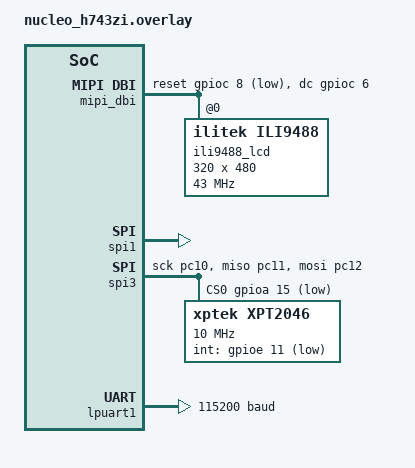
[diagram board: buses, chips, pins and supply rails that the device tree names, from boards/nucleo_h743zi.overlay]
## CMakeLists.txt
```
cmake_minimum_required(VERSION 3.20.0)

# Point the build at the HMI module (this sample lives inside it).
set(ZEPHYR_EXTRA_MODULES ${CMAKE_CURRENT_SOURCE_DIR}/../..)

find_package(Zephyr REQUIRED HINTS $ENV{ZEPHYR_BASE})
project(svpwm_comm LANGUAGES C)

# Sources are role-gated: the host (G474) runs SVPWM + the comm host peer
# and no LVGL; the device (H743) runs the comm device handlers and the
# full display stack. main.c dispatches on the same symbols.
target_sources(app PRIVATE src/main.c)
target_sources_ifdef(CONFIG_SVPWM_COMM_ROLE_HOST app PRIVATE
	src/control.c src/spi_cmd.c src/uart_comm.c)
target_sources_ifdef(CONFIG_SVPWM_COMM_ROLE_DEVICE app PRIVATE
	src/comm_device.c)

target_include_directories(app PRIVATE include)
```

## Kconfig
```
mainmenu "svpwm_comm"

source "Kconfig.zephyr"

choice SVPWM_COMM_ROLE
	prompt "SVPWM comm role"
	default SVPWM_COMM_ROLE_HOST
	help
	  One board runs each side of the comm link:

	    host   (NUCLEO-G474RE): SVPWM 3-phase inverter on TIM1, SPI
	           command link from the H7S78-DK slave, and the comm host
	           peer (drives the gauge with SET_GAUGE, probes with
	           PING/GET_INFO, watches the telemetry stream). No LVGL.
	    device (NUCLEO-H743ZI): comm device handlers (PING/GET_INFO/
	           SET_GAUGE) and the 500 ms telemetry stream, on top of
	           the full ILI9488/LVGL display stack so the needle sweep
	           is visible.

	  Both sides connect on their Arduino D0/D1 header serial
	  (G474 usart1 PC4/PC5 <-> H743 lpuart1 PB6/PB7) @115200.

config SVPWM_COMM_ROLE_HOST
	bool "host role (G474: SVPWM + comm host peer)"

config SVPWM_COMM_ROLE_DEVICE
	bool "device role (H743: comm device + display)"

endchoice
```

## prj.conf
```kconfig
# svpwm_comm -- settings shared by both roles.
# The host (G474) and device (H743) builds each merge their role + board
# specific settings from boards/<board>.conf on top of this file.

CONFIG_MAIN_STACK_SIZE=8192

CONFIG_GPIO=y
CONFIG_SPI=y

CONFIG_LOG=y
CONFIG_LOG_DEFAULT_LEVEL=3
CONFIG_LOG_MODE_DEFERRED=y

# spi_cmd.c/control.c log %f (freq/mag) on the host; cbprintf float support.
CONFIG_CBPRINTF_FP_SUPPORT=y

# Both boards have a hardware FPU (CONFIG_CPU_HAS_FPU=y) but it was left off,
# so control.c's SVPWM timer ISR (43.2 kHz) ran entirely in software float --
# measured as ~28 __aeabi_f* libcalls + 2 libm sinf calls, long enough to
# starve the USART ISR and drop received bytes (no ACK).
# Enabling the FPU also selects FP_HARDABI -> FPU_SHARING automatically.
CONFIG_FPU=y

# HMI comm subsystem (transport-agnostic core + UART backend). The actual
# UART is picked per board via the zephyr,comm chosen node in the overlays.
CONFIG_HMI_COMM=y
CONFIG_HMI_COMM_UART=y
```

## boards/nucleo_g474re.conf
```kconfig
# svpwm_comm host role (NUCLEO-G474RE): SVPWM on TIM1 + SPI command link
# + comm host peer. No LVGL -- CONFIG_HMI stays off.
CONFIG_SVPWM_COMM_ROLE_HOST=y

# Console over ST-LINK VCP (LPUART1 on PA2/PA3)
CONFIG_SERIAL=y
CONFIG_CONSOLE=y
CONFIG_UART_CONSOLE=y
CONFIG_PRINTK=y

# PWM driver so the pwm1 pinctrl in the overlay muxes the TIM1 output pins
# (PA8..PA12/PB15 -> TIM1 alternate function); without it no PWM reaches
# the pins even though TIM1 runs.
CONFIG_PWM=y

# User button B1 (PC13, active low) drives the gauge: every press sends one
# SET_GAUGE. The gpio-keys node is already in the board DTS and
# CONFIG_INPUT_GPIO_KEYS defaults to y, so CONFIG_INPUT is the only switch.
CONFIG_INPUT=y
```

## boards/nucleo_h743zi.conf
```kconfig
# svpwm_comm device role (NUCLEO-H743ZI): comm device handlers + telemetry
# on top of the full ILI9488/LVGL display stack (same settings as the
# display_demo sample).
CONFIG_SVPWM_COMM_ROLE_DEVICE=y

# The nucleo_h743zi's default zephyr,code-partition (MCUboot slot0) is only
# 256 KB. This app (~500 KB) links against the full 2 MB flash instead.
CONFIG_USE_DT_CODE_PARTITION=n

# SPI1 LCD bus moves ~14 KB per flush; DMA frees the flush thread from
# byte-pumping so main can render while the transfer runs. DMA_STM32_V2
# and DMAMUX_STM32 enable themselves from the DT nodes in the overlay.
CONFIG_DMA=y
CONFIG_SPI_STM32_DMA=y

# Resistive touch (XPT2046 on SPI3, 'zephyr,touch' chosen) -> LVGL pointer
CONFIG_INPUT=y
CONFIG_INPUT_XPT2046=y
# The input module logs a "Timeout discarded" DBG line on EVERY syswq report,
# and with CONFIG_INPUT_LOG_LEVEL_DBG the resulting flood overflows the
# deferred log queue at 115200 baud. Keep WRN so the "Event dropped, queue
# full" canary stays visible.
CONFIG_INPUT_LOG_LEVEL_WRN=y
# Input pipeline must never be starved, or the 16-slot event msgq fills and
# every touch is dropped before reaching LVGL. Run the input thread at
# cooperative top priority and give it headroom for bursts/drags.
CONFIG_INPUT_THREAD_PRIORITY_OVERRIDE=y
CONFIG_INPUT_THREAD_PRIORITY=-1
CONFIG_INPUT_THREAD_STACK_SIZE=2048
CONFIG_INPUT_QUEUE_MAX_MSGS=64
CONFIG_LV_Z_POINTER_INPUT=y
CONFIG_LV_Z_POINTER_FROM_CHOSEN_TOUCH=y

# Display driver stack (ILI9488 over 4-wire MIPI DBI/SPI)
CONFIG_DISPLAY=y
CONFIG_DISPLAY_LOG_LEVEL_ERR=y

# LVGL, rendering natively in the panel's 18-bit RGB666 mode. The HMI
# module (CONFIG_HMI) selects the widgets and fonts it needs here.
CONFIG_LVGL=y
CONFIG_LV_COLOR_DEPTH_24=y
# VDB size in % of the 320x480 portrait framebuffer, kept small so the
# (persistent) rendering buffer fits next to the widget set in the LVGL
# memory pool: 3% of 320*480 = 4608 px = 13824 bytes @ RGB888.
CONFIG_LV_Z_VDB_SIZE=3
# Double the draw buffer and flush in a dedicated thread so the next strip
# renders while the previous one is pushed over SPI. Flush priority MUST
# stay below the input/sysworkq threads (-1), or a long synchronous flush
# starves XPT2046 sampling (the old touch freeze).
CONFIG_LV_Z_DOUBLE_VDB=y
CONFIG_LV_Z_FLUSH_THREAD=y
CONFIG_LV_Z_FLUSH_THREAD_PRIORITY=4
CONFIG_LV_Z_FLUSH_THREAD_STACK_SIZE=1024
CONFIG_LV_Z_MEM_POOL_SIZE=40000
CONFIG_LV_USE_LOG=y
CONFIG_LV_LOG_LEVEL_ERROR=y

# HMI library (display lifecycle + gauge widgets)
CONFIG_HMI=y

# Trim LVGL down to just the widgets the HMI demo uses (see display_demo).
CONFIG_LV_USE_TABLE=n
CONFIG_LV_USE_TEXTAREA=n
CONFIG_LV_USE_ROLLER=n
CONFIG_LV_USE_SPINBOX=n
CONFIG_LV_USE_SPINNER=n
CONFIG_LV_USE_SWITCH=n
CONFIG_LV_USE_CHECKBOX=n
CONFIG_LV_USE_DROPDOWN=n
CONFIG_LV_USE_CALENDAR=n
CONFIG_LV_USE_KEYBOARD=n
CONFIG_LV_USE_MSGBOX=n
CONFIG_LV_USE_MENU=n
CONFIG_LV_USE_TILEVIEW=n
CONFIG_LV_USE_WIN=n
CONFIG_LV_USE_LIST=n
CONFIG_LV_USE_ANIMIMG=n
CONFIG_LV_USE_CANVAS=n
CONFIG_LV_USE_IMAGEBUTTON=n
CONFIG_LV_USE_SPAN=n
CONFIG_LV_USE_SCALE=n
CONFIG_LV_USE_LED=n
CONFIG_LV_USE_GIF=n

# picolib float support (%f in logs/cbprintf)
CONFIG_PICOLIBC_IO_FLOAT=y
```

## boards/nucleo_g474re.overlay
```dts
/*
 * SVPWM on NUCLEO-G474RE -- 3-phase inverter drive via TIM1.
 *
 * Register-level port of the STM32H743ZI SVPWM (control.c) to the G474,
 * with the timer constants/values taken from the corrected G474RETEST
 * reference project (Core/Src/main.c):
 *   - TIM1 center-aligned mode 1, prescaler 0 (170 MHz), ARR = 3935
 *     -> 2*3935 / 170e6 = 46.3 us => 21.6 kHz switching
 *   - PWM mode 1, active-low polarity on all channels
 *   - deadtime DTG = 170  (~1.25 us) -- fixes the wrong deadtime carried
 *     over from the H743ZI port (which used a bogus DTG value)
 *
 * Pin mapping (matches G474RETEST stm32g4xx_hal_msp.c HAL_TIM_MspPostInit):
 *   TIM1_CH1  PA8  TIM1_CH1N PA11
 *   TIM1_CH2  PA9  TIM1_CH2N PA12
 *   TIM1_CH3  PA10 TIM1_CH3N PB15
 *
 * The TIM1 pins/counters are driven directly from control.c (CMSIS register
 * access, like the H743ZI project), so the pwm node below is only used to
 * request the pinctrl muxing of the six output pins.
 *
 * FDCAN1 is enabled by default on the Nucleo-G474RE board using PA11 (RX)
 * and PA12 (TX) -- the same physical pins as TIM1_CH1N/CH2N -- so it must
 * be disabled to free those pins for the complementary PWM outputs.
 */

&timers1 {
	status = "okay";
	st,prescaler = <0>;
	st,countermode = <0x20>;

	pwm1: pwm {
		status = "okay";

		pinctrl-0 = <
			&tim1_ch1_pa8
			&tim1_ch1n_pa11

			&tim1_ch2_pa9
			&tim1_ch2n_pa12

			&tim1_ch3_pa10
			&tim1_ch3n_pb15
		>;
		pinctrl-names = "default";
	};
};

/* Free PA11/PA12 (FDCAN1 RX/TX) for TIM1_CH1N / TIM1_CH2N */
&fdcan1 {
	status = "disabled";
};

/*
 * SPI command link (master side).
 *
 * The H7S78-DK slave drives the SVPWM reference (frequency + magnitude) over
 * an SPI frame, and notifies the master by raising a GPIO line when a new
 * command is ready:
 *
 *   SPI1 master  -> H7S78 SPI4 slave :  SCK=PA5, MISO=PA6, MOSI=PA7, CS=PB6
 *   notify slave -> master          :  slave PD12 -> master PC7
 *
 * PC7 is an input the master watches (rising edge = new command frame ready);
 * on a rising edge the master clocks an 8-byte full-duplex frame from the
 * slave and applies set_frequency()/set_magnitude().
 */
&spi1 {
	status = "okay";
	pinctrl-0 = <&spi1_sck_pa5 &spi1_miso_pa6 &spi1_mosi_pa7>;
	pinctrl-names = "default";
};

/*
 * HMI comm link (host side) to the H743 svpwm_comm device role: usart1 on PC4(TX)/PC5(RX),
 * 115200, the board's default usart1 mapping. Backend selected via the
 * zephyr,comm chosen node (binding 'hmi,comm-uart' from the HMI module).
 */
/ {
	chosen {
		zephyr,comm = &hmi_comm0;
	};

	hmi_comm0: hmi-comm {
		compatible = "hmi,comm-uart";
		uart = <&usart1>;
		status = "okay";
	};
};
```

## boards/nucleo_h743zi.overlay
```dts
/*
 * svpwm_comm device role for ST NUCLEO-H743ZI.
 *
 * Board defaults (nucleo_h743zi.dts) kept enabled:
 *  - absolutely needed: usart3 (PD8/PD9, ST-Link VCP console+shell),
 *    lpuart1 (PB6/PB7, Arduino D0/D1 serial), the RMII Ethernet
 *    (mac/mdio, owns PA7 = SPI1 MOSI on the G4! here we use PB5),
 *    USB OTG FS (PA11/PA12), FDCAN1 (PD0/PD1), LEDs (PB0/PE1/PB14),
 *    DAC1 (PA4), RNG, IWDG.
 *
 * Display + touch pinout (matches the Gauge board wiring; Ethernet and
 * Arduino serial stay live, so three G4 pins move):
 *  - Display SPI1: SCK=PA5(D13) MISO=PA6(D12) MOSI=PB5(D11) CS=PD14(D10)
 *    -> exactly the board's default SPI1, nothing to override.
 *  - Display GPIOs: DC=PC6, RESET=PC8 (same as the G4 build).
 *  - Touch SPI3: SCK=PC10 MISO=PC11 MOSI=PC12 (same as the G4 build),
 *    CS=PA15 (same), IRQ=PE11(D5) (- G4 used PB7 = lpuart1 RX here).
 *  - HMI comm: lpuart1 on PB6(TX=D1)/PB7(RX=D0) @115200, i.e. the Arduino
 *    D0/D1 header serial to mate with the G474's usart1 D0/D1 (PC5/PC4).
 *    Usart1 (PA9/PA10) is left disabled so the comm pins stay on-board.
 *
 * No SPI DMA on the H7 for now: the DMAMUX request ids differ from the
 * G4 and need verifying against RM0433; polling suffices for bring-up.
 */

#include <zephyr/dt-bindings/display/panel.h>
#include <freq.h>

/ {
    chosen {
        zephyr,display = &ili9488_lcd;
        zephyr,touch = &xpt2046;
        zephyr,comm = &hmi_comm0;
    };

    hmi_comm0: hmi-comm {
        compatible = "hmi,comm-uart";
        uart = <&lpuart1>;
        status = "okay";
    };

    mipi_dbi: mipi_dbi {
        compatible = "zephyr,mipi-dbi-spi";
        spi-dev = <&spi1>;
        dc-gpios = <&gpioc 6 GPIO_ACTIVE_HIGH>;
        reset-gpios = <&gpioc 8 GPIO_ACTIVE_LOW>;
        #address-cells = <1>;
        #size-cells = <0>;
        status = "okay";

        ili9488_lcd: ili9488@0 {
            compatible = "ilitek,ili9488";
            reg = <0>;
            mipi-mode = "MIPI_DBI_MODE_SPI_4WIRE";
            /* Panel register table matches the G4 build (same LCD module).
             * H7 SPI1 kernel clock is PLL1_Q = 480 MHz; the reached wire
             * rate may differ from the G4's ~43 MHz -> retune if needed. */
            mipi-max-frequency = <DT_FREQ_M(43)>;
            width = <320>;
            height = <480>;
            pixel-format = <PANEL_PIXEL_FORMAT_RGB_888>;
            rotation = <180>;
            frmctr1 = [b0 11];
            disctrl = [02 22 3b];
            pwctrl1 = [11 09];
            pwctrl2 = [41];
            vmctrl = [00 0a 80 40];
            pgamctrl = [00 07 10 09 17 0b 41 89 4b 0a 0c 0e 18 1b 0f];
            ngamctrl = [00 17 1a 04 0e 06 2f 45 43 02 0a 09 32 36 0f];
            status = "okay";
        };
    };
};

&spi1 {
    /* pinctrl + cs-gpios are the board defaults (PA5/PA6/PB5, PD14). */
    status = "okay";
};

&spi3 {
    pinctrl-0 = <&spi3_sck_pc10 &spi3_miso_pc11 &spi3_mosi_pc12>;
    pinctrl-names = "default";
    cs-gpios = <&gpioa 15 GPIO_ACTIVE_LOW>;
    status = "okay";

    xpt2046: xpt2046@0 {
        compatible = "xptek,xpt2046";
        reg = <0>;
        spi-max-frequency = <DT_FREQ_M(10)>;
        /* PE11 = Arduino D5; PB7 (G4 wiring) stays lpuart1 RX here. */
        int-gpios = <&gpioe 11 GPIO_ACTIVE_LOW>;

        /* Raw XPT2046 cal is panel- and driver-raw, independent of the
         * host MCU, so the values from the G4 stays valid on this panel. */
        min-x = <1300>;
        max-x = <4095>;
        min-y = <683>;
        max-y = <3800>;
        touchscreen-size-x = <4096>;
        touchscreen-size-y = <4096>;
        z-threshold = <100>;
        reads = <10>;

        inverted-y;

        screen-width = <4096>;
        screen-height = <4096>;
        display = <&ili9488_lcd>;
    };
};

&lpuart1 {
    /* Arduino D1(TX=PB6)/D0(RX=PB7) @115200, the board default; mates
     * with the G474 usart1 on its Arduino D1/D0 (PC4/PC5). */
    current-speed = <115200>;
    status = "okay";
};
```

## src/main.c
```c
/*
 * SPDX-License-Identifier: Apache-2.0
 *
 * svpwm_comm role dispatch. One board runs each side of the comm link (see
 * Kconfig): the G474 runs SVPWM + the comm host peer, the H743 runs the
 * comm device handlers on top of the full display stack.
 */

#ifdef CONFIG_SVPWM_COMM_ROLE_DEVICE

#include <stdio.h>

#include <zephyr/kernel.h>

#include <lvgl.h>

#include <hmi/comm/hmi_comm_proto.h>
#include <hmi/hmi.h>

#include "comm_device.h"

/* --- screen geometry (320x480 panel) --- */
#define GAUGE_SIZE          240
#define GAUGE_Y             6
#define BTN_H               54
#define BTN_ROW1_Y          254
#define BTN_ROW2_Y          316
#define BTN_X0              10
#define BTN_X1              165
#define BTN_W               145
#define READOUT_Y           380
#define ACK_Y               406
#define LOSS_Y              430

/* --- SVPWM setpoint, mirrored from control.c's defaults --- */
#define SVPWM_FREQ_INIT_X10     600u    /* 60.0 Hz */
#define SVPWM_VOLT_INIT_X100    400u    /* 4.00 V  */
#define SVPWM_FREQ_STEP_X10     50u     /* 5.0 Hz  */
#define SVPWM_VOLT_STEP_X100    25u     /* 0.25 V  */

/* colourscheme[] indices from hmi_gauge.c */
#define COLOR_TEXT             colorscheme[22]
#define COLOR_OK               colorscheme[16]
#define COLOR_FAULT            colorscheme[19]

/* Requested setpoint. Written by the button callbacks, which run inside
 * lv_timer_handler() on the LVGL thread, so the readout label can be
 * updated straight from them.
 */
static uint16_t svpwm_freq_x10 = SVPWM_FREQ_INIT_X10;
static uint16_t svpwm_volt_x100 = SVPWM_VOLT_INIT_X100;

static lv_obj_t * readout_lbl;
static lv_obj_t * ack_lbl;
static lv_obj_t * loss_lbl;

static lv_obj_t * make_label(lv_obj_t *parent, int y, const char *text)
{
    lv_obj_t *lbl = lv_label_create(parent);

    lv_label_set_text(lbl, text);
    lv_obj_set_width(lbl, 300);
    lv_obj_set_style_text_font(lbl, &lv_font_montserrat_16, 0);
    lv_obj_set_style_text_color(lbl, lv_color_hex(COLOR_TEXT), 0);
    lv_obj_set_style_text_align(lbl, LV_TEXT_ALIGN_CENTER, 0);
    lv_obj_align(lbl, LV_ALIGN_TOP_MID, 0, y);

    return lbl;
}

static void send_svpwm(void)
{
    comm_device_send_svpwm(svpwm_freq_x10, svpwm_volt_x100);
}

/* --- button callbacks (LVGL thread) --- */

static void step_freq(lv_obj_t *btn, bool checked, void *user_data)
{
    intptr_t dir = (intptr_t)user_data;

    ARG_UNUSED(btn);
    ARG_UNUSED(checked);

    if (dir < 0) {
        svpwm_freq_x10 = (svpwm_freq_x10 > SVPWM_FREQ_STEP_X10) ?
            (uint16_t)(svpwm_freq_x10 - SVPWM_FREQ_STEP_X10) : 0u;
    } else {
        svpwm_freq_x10 = (svpwm_freq_x10 + SVPWM_FREQ_STEP_X10 >
                  HMI_SVPWM_FREQ_MAX_X10) ?
            0u : (uint16_t)(svpwm_freq_x10 + SVPWM_FREQ_STEP_X10);
    }

    send_svpwm();
}

static void step_volt(lv_obj_t *btn, bool checked, void *user_data)
{
    intptr_t dir = (intptr_t)user_data;

    ARG_UNUSED(btn);
    ARG_UNUSED(checked);

    if (dir < 0) {
        svpwm_volt_x100 = (svpwm_volt_x100 > SVPWM_VOLT_STEP_X100) ?
            (uint16_t)(svpwm_volt_x100 - SVPWM_VOLT_STEP_X100) : 0u;
    } else {
        svpwm_volt_x100 = (svpwm_volt_x100 + SVPWM_VOLT_STEP_X100 >
                  HMI_SVPWM_VOLT_MAX_X100) ?
            0u : (uint16_t)(svpwm_volt_x100 + SVPWM_VOLT_STEP_X100);
    }

    send_svpwm();
}

/* --- ACK status sync (LVGL thread) ---
 *
 * The ack lands on the comm RX thread, so this timer is the only thing that
 * touches the labels. Same marshal pattern the gauge uses: the comm side
 * writes plain variables, an LVGL timer publishes them.
 */
static void ui_sync_cb(lv_timer_t *timer)
{
    static char text[96];
    comm_device_svpwm_ack_t cur;
    uint32_t lv_color;

    LV_UNUSED(timer);

    comm_device_get_svpwm_ack(&cur);

    snprintf(text, sizeof(text), "F %u.%u Hz    V %u.%02u V",
        svpwm_freq_x10 / 10, svpwm_freq_x10 % 10,
        svpwm_volt_x100 / 100, svpwm_volt_x100 % 100);
    lv_label_set_text(readout_lbl, text);

    if (!cur.valid) {
        snprintf(text, sizeof(text), "no ACK yet (sent %u)", cur.sent);
        lv_color = COLOR_TEXT;
    } else if (cur.status != 0) {
        snprintf(text, sizeof(text), "host rejected (status %u)", cur.status);
        lv_color = COLOR_FAULT;
    } else {
        snprintf(text, sizeof(text), "ACK %u.%u Hz  %u.%02u V",
            cur.freq_x10 / 10, cur.freq_x10 % 10,
            cur.volt_x100 / 100, cur.volt_x100 % 100);
        lv_color = COLOR_OK;
    }
    lv_label_set_text(ack_lbl, text);
    lv_obj_set_style_text_color(ack_lbl, lv_color_hex(lv_color), 0);

    snprintf(text, sizeof(text), "sent %u   acked %u   lost %u",
        cur.sent, cur.acked, cur.sent - cur.acked);
    lv_label_set_text(loss_lbl, text);
}

static lv_obj_t * add_button(int x, int y, const char *label,
                 hmi_button_cb_t cb, intptr_t dir)
{
    lv_obj_t *btn = hmi_button_create(lv_screen_active(), x, y,
                       BTN_W, BTN_H);

    hmi_button_set_label(btn, label);
    hmi_button_set_layout(btn, HMI_BUTTON_ICON_NONE);
    hmi_button_set_type(btn, HMI_BUTTON_NORMAL);
    /* The direction rides as an integer inside the opaque pointer. The
     * callbacks cast it back and compare, so nothing is ever loaded
     * through it: dereferencing dir would fault, since -1 is 0xFFFFFFFF
     * and +1 is not a valid address on any target. */
    hmi_button_set_callback(btn, cb, (void *)dir);

    return btn;
}

static void show_single_gauge(void)
{
    lv_obj_t *gauge;

    /* Bound to the library demo value, so the SET_GAUGE handler in
     * comm_device.c drives the needle without a second copy of the state.
     */
    gauge = hmi_ui_gauge_create(lv_screen_active(), GAUGE_SIZE, "GAUGE", "rpm");
    hmi_ui_gauge_set_range(gauge, 0, 1500);
    hmi_ui_gauge_bind_value(gauge, hmi_gauge_demo_value());
    lv_obj_align(gauge, LV_ALIGN_TOP_MID, 0, GAUGE_Y);

    add_button(BTN_X0, BTN_ROW1_Y, "FREQ -5 Hz", step_freq, -1);
    add_button(BTN_X1, BTN_ROW1_Y, "FREQ +5 Hz", step_freq, +1);
    add_button(BTN_X0, BTN_ROW2_Y, "VOLT -0.25 V", step_volt, -1);
    add_button(BTN_X1, BTN_ROW2_Y, "VOLT +0.25 V", step_volt, +1);

    readout_lbl = make_label(lv_screen_active(), READOUT_Y, "F 60.0 Hz    V 4.00 V");
    ack_lbl     = make_label(lv_screen_active(), ACK_Y, "no ACK yet");
    loss_lbl    = make_label(lv_screen_active(), LOSS_Y, "sent 0   acked 0   lost 0");

    lv_timer_create(ui_sync_cb, 100, NULL);
}

int main(void)
{
    if (hmi_init() < 0) {
        return 0;
    }

    /* Start the comm device before the display loop: the PING/GET_INFO/
     * SET_GAUGE handlers begin immediately, even while the first frames
     * render. No SET_SVPWM goes out until a button is tapped.
     */
    comm_device_start();

    /* The library's demo default is 1450, which the first B1 press would
     * knock back to 0. Start at 0 so the needle matches the host's
     * sequence instead of jumping on the first press.
     */
    hmi_gauge_demo_set(0.0f);

    show_single_gauge();
    hmi_show();

    return 0;   /* unreachable: hmi_show() loops forever */
}

#else /* CONFIG_SVPWM_COMM_ROLE_HOST */

#include "control.h"
#include "spi_cmd.h"
#include "uart_comm.h"

int main(void)
{
    init_tim1_pwm();
    init_tim1_irq();
    spi_cmd_start();
    uart_comm_start();

    return 0;   /* the input/SVPWM threads keep the app running */
}

#endif
```

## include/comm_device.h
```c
#pragma once

#include <stdbool.h>
#include <stdint.h>

/**
 * comm_device.h -- HMI comm device peer (NUCLEO-H743ZI, svpwm_comm device)
 *
 * The other end of the uart_comm host peer. It answers the host's requests
 * and originates one of its own:
 *
 *   PING       -> PONG      (payload echoed)
 *   GET_INFO   -> INFO      (ver major/minor + name string)
 *   SET_GAUGE  -> ACK       (for_id + status) and drives the demo gauge
 *   SET_SVPWM  -> ACK       (for_id + status + the applied freq/volt echo)
 *
 * The gauge value backing the needle is shared with the HMI display via
 * hmi_gauge_demo_get()/hmi_gauge_demo_set().
 *
 * There is no periodic traffic: SET_SVPWM goes out only when the on-screen
 * buttons ask for it, so one frame pair on the wire is one button press.
 */

/* Result of the most recent SET_SVPWM round trip, as echoed by the host.
 * Written by the comm RX thread, so the UI must poll it with
 * comm_device_get_svpwm_ack() rather than being called back.
 */
typedef struct {
	uint32_t sent;        /* SET_SVPWM frames handed to the UART */
	uint32_t acked;       /* SET_SVPWM acks received from the host */
	uint16_t freq_x10;    /* frequency the host reports it applied */
	uint16_t volt_x100;   /* magnitude the host reports it applied */
	uint8_t  status;      /* 0 = applied, non-zero = rejected */
	bool     valid;       /* false until the first ack arrives */
} comm_device_svpwm_ack_t;

void comm_device_start(void);

void comm_device_send_svpwm(uint16_t freq_x10, uint16_t volt_x100);
void comm_device_get_svpwm_ack(comm_device_svpwm_ack_t *out);
```

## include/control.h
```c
#pragma once

/**
 * control.h -- SVPWM 3-phase inverter control API (G474RE)
 *
 * Transplanted from the STM32H743ZI Zephyr project (control.c) to the
 * STM32G474RE. The timer constants and register values have been verified
 * against the corrected G474RETEST reference project.
 */

void init_tim1_pwm(void);
void init_tim1_irq(void);
void set_frequency(float);
void set_magnitude(float);
void svpwm_start(void);
void svpwm_stop(void);
```

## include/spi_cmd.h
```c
#pragma once

/**
 * spi_cmd.h -- SPI command link (master side, NUCLEO-G474RE)
 *
 * The H7S78-DK SPI slave sends the SVPWM reference (frequency + magnitude)
 * over an 8-byte full-duplex SPI frame, and raises a GPIO line on the master
 * (PC7) to request an exchange.  This module watches that line and applies the
 * command to the SVPWM controller via set_frequency()/set_magnitude().
 */

int spi_cmd_start(void);
```

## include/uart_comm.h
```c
#pragma once

/**
 * uart_comm.h -- HMI comm host peer (NUCLEO-G474RE)
 *
 * Talks to the H743 svpwm_comm device role (comm_device.c) using the real
 * HMI comm subsystem backend (hmi_comm.c + hmi_comm_uart.c from the HMI
 * module). Both sides connect on their Arduino D0/D1 header serial:
 *   G474 usart1 D1(PC4 TX)/D0(PC5 RX) <-> H743 lpuart1 D1(PB6 TX)/D0(PB7 RX).
 * This side acts as the host: drives the HMI gauge with a swept SET_GAUGE,
 * probes with PING/GET_INFO and watches the H743's telemetry stream.
 */

int uart_comm_start(void);
```

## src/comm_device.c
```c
/*
 * SPDX-License-Identifier: Apache-2.0
 *
 * comm_device.c -- HMI comm device peer (see comm_device.h). Answers host
 * requests with PONG/INFO/ACK, and originates SET_SVPWM for the on-screen
 * buttons; the SET_GAUGE value drives the on-screen needle through the demo
 * gauge value shared with the HMI library.
 *
 * No periodic traffic: the 500 ms telemetry stream is gone so that the
 * device->host path carries only what a button press asked for. That makes
 * each press one countable frame out and one ACK back, which is what the
 * sent/acked counters below are for.
 */

#include <string.h>

#include <zephyr/kernel.h>
#include <zephyr/logging/log.h>

#include <hmi/comm/hmi_comm.h>
#include <hmi/comm/hmi_comm_proto.h>
#include <hmi/hmi_gauge.h>

#include "comm_device.h"

LOG_MODULE_REGISTER(comm_device, LOG_LEVEL_INF);

#define INFO_MAJOR           0u
#define INFO_MINOR           2u

/* --- peer message handlers (comm RX thread context) --- */

static void on_ping(uint8_t id, const uint8_t *data, size_t len)
{
    ARG_UNUSED(id);
    printk("pong\n");
    /* Echo the host's payload back as the PONG. */
    if (hmi_comm_send(HMI_MSG_PONG, data, len) == 0) {
        LOG_INF("PING rx -> PONG (%u B)", (uint32_t)len);
    }
}

static void on_get_info(uint8_t id, const uint8_t *data, size_t len)
{
    ARG_UNUSED(id);
    static const char name[] = "svpwm_comm device";
    uint8_t info[HMI_COMM_MAX_PAYLOAD];

    ARG_UNUSED(data);
    ARG_UNUSED(len);

    info[0] = INFO_MAJOR;
    info[1] = INFO_MINOR;
    memcpy(&info[2], name, sizeof(name)); /* incl. NUL */
    if (hmi_comm_send(HMI_MSG_INFO, info, 2 + sizeof(name)) == 0) {
        LOG_INF("GET_INFO rx -> INFO");
    }
}

static void on_set_gauge(uint8_t id, const uint8_t *data, size_t len)
{
    ARG_UNUSED(id);
    uint8_t ack[2];

    if (len != 5) {  /* u8 idx + u32 value */
        LOG_WRN("SET_GAUGE bad len %u", (uint32_t)len);
        ack[0] = HMI_MSG_SET_GAUGE;
        ack[1] = 1;  /* status error */
        hmi_comm_send(HMI_MSG_ACK, ack, sizeof(ack));
        return;
    }

    hmi_gauge_demo_set((float)hmi_comm_get_u32(&data[1]));

    ack[0] = HMI_MSG_SET_GAUGE;
    ack[1] = 0;  /* status ok */
    if (hmi_comm_send(HMI_MSG_ACK, ack, sizeof(ack)) == 0) {
        LOG_INF("SET_GAUGE idx %u value %u -> ACK",
            data[0], hmi_comm_get_u32(&data[1]));
    }
}

/* --- SET_SVPWM round trip (host echo of what it applied) --- */

/* Written on the comm RX thread by on_ack(), read by the UI thread through
 * comm_device_get_svpwm_ack(). The fields are plain scalars with no lock: a
 * read that races an arriving ack can mix an old value with a new counter.
 * That is harmless here (the UI re-reads every 100 ms and self-corrects) and
 * is far cheaper than locking a display update against a comm ISR path.
 */
static struct {
	uint32_t sent;
	uint32_t acked;
	uint16_t freq_x10;
	uint16_t volt_x100;
	uint8_t  status;
} svpwm_ack;

static void on_ack(uint8_t id, const uint8_t *data, size_t len)
{
	ARG_UNUSED(id);

	if (len < HMI_ACK_SIZE || data[0] != HMI_MSG_SET_SVPWM) {
		return;   /* not ours (e.g. a SET_GAUGE ack echo) */
	}

	if (len >= HMI_ACK_SVPWM_SIZE) {
		svpwm_ack.freq_x10  = hmi_comm_get_u16(&data[2]);
		svpwm_ack.volt_x100 = hmi_comm_get_u16(&data[4]);
	}
	svpwm_ack.status = data[1];
	svpwm_ack.acked++;

	LOG_INF("SET_SVPWM ack st %u -> f=%u.%u Hz v=%u.%02u V (%u/%u)",
	    data[1],
	    svpwm_ack.freq_x10 / 10, svpwm_ack.freq_x10 % 10,
	    svpwm_ack.volt_x100 / 100, svpwm_ack.volt_x100 % 100,
	    svpwm_ack.acked, svpwm_ack.sent);
}

void comm_device_send_svpwm(uint16_t freq_x10, uint16_t volt_x100)
{
	uint8_t payload[HMI_SVPWM_PAYLOAD_SIZE];

	hmi_comm_put_u16(&payload[0], freq_x10);
	hmi_comm_put_u16(&payload[2], volt_x100);

	if (hmi_comm_send(HMI_MSG_SET_SVPWM, payload, sizeof(payload)) == 0) {
		svpwm_ack.sent++;
		LOG_INF("ui -> SET_SVPWM f=%u.%u Hz v=%u.%02u V (%u)",
		    freq_x10 / 10, freq_x10 % 10,
		    volt_x100 / 100, volt_x100 % 100,
		    svpwm_ack.sent);
	} else {
		LOG_WRN("SET_SVPWM send failed");
	}
}

void comm_device_get_svpwm_ack(comm_device_svpwm_ack_t *out)
{
	if (out == NULL) {
		return;
	}

	out->sent      = svpwm_ack.sent;
	out->acked     = svpwm_ack.acked;
	out->freq_x10  = svpwm_ack.freq_x10;
	out->volt_x100 = svpwm_ack.volt_x100;
	out->status    = svpwm_ack.status;
	out->valid     = svpwm_ack.acked > 0;
}

/* --- start --- */

void comm_device_start(void)
{
	if (hmi_comm_init() < 0) {
		LOG_ERR("comm init failed");
		return;
	}

	hmi_comm_set_handler(HMI_MSG_PING, on_ping);
	hmi_comm_set_handler(HMI_MSG_GET_INFO, on_get_info);
	hmi_comm_set_handler(HMI_MSG_SET_GAUGE, on_set_gauge);
	hmi_comm_set_handler(HMI_MSG_ACK, on_ack);

	LOG_INF("comm device started: lpuart1 on Arduino D1(PB6)/D0(PB7) @115200");
}
```

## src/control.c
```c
/*
 * control.c -- SVPWM 3-phase inverter drive for STM32G474RE (NUCLEO-G474RE)
 *
 * Transplant of the STM32H743ZI Zephyr SVPWM. The H743ZI version had several
 * problems that are fixed here:
 *
 *   1. DEAD TIME: the H743ZI port wrote a bogus DTG value into TIM1->BDTR.
 *      For the G474 the correct value is DTG = 170 (~1.25 us at 170 MHz),
 *      taken from the verified G474RETEST reference project.
 *
 *   2. PWM PERIOD / SCALING: ARR is set to the G474-correct value 3935 for a
 *      21.6 kHz center-aligned switching frequency (2*3935/170e6 = 46.3 us).
 *
 *   3. SVPWM MATH: the duty computation now matches the verified G474RETEST
 *      iSVPWMz0() implementation, which produces CCR values directly in the
 *      [0, 3935] range instead of the factor-mistaken time*REAL2DIS scaling in
 *      the H743ZI version.
 *
 * The H743ZI CMSIS / Zephyr-style register access is preserved: TIM1 is set
 * up by direct register writes (bypassing the Zephyr PWM driver, which does
 * not expose center-aligned mode, complementary outputs or dead time).
 *
 * Register values verified against G474RETEST/Core/Src/main.c (MX_TIM1_Init):
 *   - Prescaler 0            (170 MHz timer clock)
 *   - Center-aligned mode 1  (CMS = 01)
 *   - ARR = 3935
 *   - PWM mode 1, active-low polarity on CH1..3 and CH1N..3N
 *   - DeadTime (DTG) = 170
 */

#include <zephyr/irq.h>
#include <stm32g474xx.h>
#include <math.h>
#include <zephyr/sys/printk.h>

/* Timer / switching parameters (G474RETEST-verified) */
#define PWM_PERIOD 3935                 /* TIM1->ARR: 2*3935/170e6 = 46.3 us */
#define SW_FREQ    21600.0f             /* 21.6 kHz switching frequency      */
#define TS         4.6296296296296296e-5f  /* 1 / SW_FREQ (full period)      */

/* Center-aligned update event fires on overflow AND underflow (2x / period) */
#define T_ISR      (TS / 2.0f)          /* 23.15 us per TIM1 update ISR      */

#define PI    3.141592653589793f
#define SQRT3 1.7320508075688772f
#define SQRT3_DIV2 0.866025403784439f
#define DEG2RAD    0.01745329251994329577f
#define PI_DIV3    1.04719755119659774615f

static float vdc = 10.0f;   /* DC bus voltage (V), matches G474RETEST Vdc  */
static float v_mag = 4.0f;  /* reference voltage magnitude (V) -> max 5 V  */
static float fout = 60.0f;  /* electrical frequency (Hz)                    */

void init_tim1_pwm(void)
{
    /* Enable TIM1 clock (APB2) */
    RCC->APB2ENR |= RCC_APB2ENR_TIM1EN;

    /* Reset timer */
    TIM1->CR1 = 0;

    /* Center-aligned mode 1 (CMS = 01): counter counts up then down */
    TIM1->CR1 |= TIM_CR1_CMS_0;

    /* Prescaler 0 -> timer runs at full 170 MHz kernel clock */
    TIM1->PSC = 0;

    TIM1->ARR = PWM_PERIOD;

    /* PWM mode 1 (OCxM = 110) + preload enable for CH1, CH2 (CCMR1),
     * CH3 (CCMR2).  CH4 unused. */
    TIM1->CCMR1 |= (6 << TIM_CCMR1_OC1M_Pos);
    TIM1->CCMR1 |= TIM_CCMR1_OC1PE;
    TIM1->CCMR1 |= (6 << TIM_CCMR1_OC2M_Pos);
    TIM1->CCMR1 |= TIM_CCMR1_OC2PE;
    TIM1->CCMR2 |= (6 << TIM_CCMR2_OC3M_Pos);
    TIM1->CCMR2 |= TIM_CCMR2_OC3PE;

    /* Enable CH1..3 plus complementary CH1N..3N */
    TIM1->CCER |= TIM_CCER_CC1E  |
                  TIM_CCER_CC1NE |
                  TIM_CCER_CC2E  |
                  TIM_CCER_CC2NE |
                  TIM_CCER_CC3E  |
                  TIM_CCER_CC3NE;

    /* Active-low polarity on every output (matches G474RETEST OCPolarity and
     * OCNPolarity = LOW).  The gate driver inverts the logic level, so a
     * logical "1" (duty on) appears as low on the pin. */
    TIM1->CCER |= TIM_CCER_CC1P;
    TIM1->CCER |= TIM_CCER_CC1NP;
    TIM1->CCER |= TIM_CCER_CC2P;
    TIM1->CCER |= TIM_CCER_CC2NP;
    TIM1->CCER |= TIM_CCER_CC3P;
    TIM1->CCER |= TIM_CCER_CC3NP;

    /* Dead time DTG = 170 -> ~1.25 us at 170 MHz (correct on G474). The H743ZI
     * port carried over a bogus DTG value; 170 is the G474RETEST value. */
    TIM1->BDTR &= ~TIM_BDTR_DTG;
    TIM1->BDTR |= (170 << TIM_BDTR_DTG_Pos);

    /* Main output enable */
    TIM1->BDTR |= TIM_BDTR_MOE;

    /* Auto-reload preload (buffered ARR) */
    TIM1->CR1 |= TIM_CR1_ARPE;

    /* Initial 50% duty on all three phases */
    TIM1->CCR1 = PWM_PERIOD / 2;
    TIM1->CCR2 = PWM_PERIOD / 2;
    TIM1->CCR3 = PWM_PERIOD / 2;

    /* Generate update event to load preload registers */
    TIM1->EGR |= TIM_EGR_UG;

    /* Enable update interrupt (drives the SVPWM reference update) */
    TIM1->DIER |= TIM_DIER_UIE;

    /* Start timer */
    TIM1->CR1 |= TIM_CR1_CEN;
}

/*
 * SVPWM (7-segment, center-aligned, zero vector Z0) -- iSVPWMz0 math from
 * the verified G474RETEST project.
 *
 *  v_mag_ref : reference voltage magnitude (|V|)
 *  vdc       : DC bus voltage
 *  ph_deg    : reference phase in degrees [0, 360)
 *  ccr_buf   : out, [Ta, Tb, Tc] compare values for TIM1 CCR1..3
 */
static void svpwm(float v_mag_ref, float vdc, float ph_deg, uint32_t ccr_buf[])
{
    float theta, Rtheta, mi, miK, SINx, SINXm;
    float T1, T2, Tw;
    int sect;

    /* Modulation index: mi = 2|V| / Vdc */
    if (vdc == 0.0f) {
        mi = 0.0f;
    } else {
        mi = 2.0f * v_mag_ref / vdc;
    }

    /* miK maps into timer counts using ARR as the peak compare value */
    miK = SQRT3_DIV2 * PWM_PERIOD * mi;

    /* Sector 0..5 (60 degrees each) and angle within the sector */
    sect = (int)(ph_deg / 60.0f);
    if (sect > 5) {
        sect = 5;
    }
    theta = ph_deg - (float)sect * 60.0f;
    Rtheta = theta * DEG2RAD;

    SINXm = sinf(PI_DIV3 - Rtheta);
    SINx  = sinf(Rtheta);

    /* Active vector times (in timer counts) */
    T1 = miK * SINXm;
    T2 = miK * SINx;
    Tw = T1 + T2;

    /* Overmodulation / count clamp so CCR never exceeds ARR */
    if (Tw > (float)PWM_PERIOD) {
        float s = (float)PWM_PERIOD / Tw;
        T1 *= s;
        T2 *= s;
        Tw = (float)PWM_PERIOD;
    }

    switch (sect) {
    case 0: ccr_buf[0] = (uint32_t)Tw; ccr_buf[1] = (uint32_t)T2; ccr_buf[2] = 0; break;
    case 1: ccr_buf[0] = (uint32_t)T1; ccr_buf[1] = (uint32_t)Tw; ccr_buf[2] = 0; break;
    case 2: ccr_buf[0] = 0;            ccr_buf[1] = (uint32_t)Tw; ccr_buf[2] = (uint32_t)T2; break;
    case 3: ccr_buf[0] = 0;            ccr_buf[1] = (uint32_t)T1; ccr_buf[2] = (uint32_t)Tw; break;
    case 4: ccr_buf[0] = (uint32_t)T2; ccr_buf[1] = 0;            ccr_buf[2] = (uint32_t)Tw; break;
    default: ccr_buf[0] = (uint32_t)Tw; ccr_buf[1] = 0;           ccr_buf[2] = (uint32_t)T1; break;
    }
}

static inline void set_three_phase_pwm(uint32_t a, uint32_t b, uint32_t c)
{
    TIM1->CCR1 = a;
    TIM1->CCR2 = b;
    TIM1->CCR3 = c;
}

static void timer_update_isr(void)
{
    TIM1->SR &= ~TIM_SR_UIF;

    static float theta = 0.0f;

    /* Advance the electrical angle each update (43.2 kHz here) */
    theta += 2.0f * PI * fout * T_ISR;
    if (theta >= 2.0f * PI) {
        theta -= 2.0f * PI;
    }

    /* Generate a rotating reference voltage vector (open-loop test). */
    uint32_t ccr_buf[3];
    svpwm(v_mag, vdc, theta * (180.0f / PI), ccr_buf);

    set_three_phase_pwm(ccr_buf[0], ccr_buf[1], ccr_buf[2]);
}

void init_tim1_irq(void)
{
    IRQ_CONNECT(TIM1_UP_TIM16_IRQn, 0, timer_update_isr, NULL, 0);
    irq_enable(TIM1_UP_TIM16_IRQn);
}

void set_frequency(float fre)
{
    fout = fre;
}

void set_magnitude(float mag)
{
    v_mag = mag;
}

/* Stop the SVPWM: halt the timer, force every output to a safe (off)
 * compare value and disable the main outputs so the bridge is truly dead
 * rather than parked on the last running vector. */
void svpwm_stop(void)
{
    TIM1->CR1 &= ~TIM_CR1_CEN;

    /* 0 = full active-low -> gate driver off: safe bridge. */
    set_three_phase_pwm(0, 0, 0);

    /* With CCxPE preload enabled and the counter stopped, the CCR writes
     * above only land in the preload registers. Force an update event so the
     * shadow compares are reloaded too. */
    TIM1->EGR |= TIM_EGR_UG;

    /* Disable the six PWM outputs (MOE=0): zero volts to the motor, not just
     * a stopped switching pattern. */
    TIM1->BDTR &= ~TIM_BDTR_MOE;
}

/* (Re)start the SVPWM: re-enable the main outputs and the timer so the
 * rotating vector ISR resumes. */
void svpwm_start(void)
{
    TIM1->BDTR |= TIM_BDTR_MOE;
    TIM1->CR1 |= TIM_CR1_CEN;
}
```

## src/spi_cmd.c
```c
/*
 * spi_cmd.c -- SPI command link (master side, NUCLEO-G474RE)
 *
 * Receives SVPWM reference commands (electrical frequency + voltage
 * magnitude) from the H7S78-DK SPI4 slave.
 *
 * Transport: SPI1 master (SCK=PA5, MISO=PA6, MOSI=PA7, CS=PB6 GPIO).  The
 * slave drives the SVPWM control by asserting a notification GPIO (PC7) when
 * it has a new command ready, at which point this module clocks an 8-byte
 * frame from the slave and applies it.
 *
 * Frame (both directions, master TX always 8 bytes of 0x00):
 *   [0]  magic   0xAA
 *   [1]  cmd     0x01 = set reference
 *   [2]  freq_hi freq*100 big-endian high byte
 *   [3]  freq_lo freq*100 big-endian low  byte
 *   [4]  mag_hi  mag*100  big-endian high byte
 *   [5]  mag_lo  mag*100  big-endian low  byte
 *   [6]  crc     XOR of bytes [0..5]
 *   [7]  tail    0x55
 */

#include <stdint.h>
#include <string.h>
#include <zephyr/kernel.h>
#include <zephyr/drivers/gpio.h>
#include <zephyr/drivers/spi.h>
#include <zephyr/device.h>
#include <zephyr/logging/log.h>

#include <zephyr/sys/byteorder.h>

#include "control.h"
#include "spi_cmd.h"

LOG_MODULE_REGISTER(spi_cmd, LOG_LEVEL_INF);

#define SPI_DEV_NODE   DT_NODELABEL(spi1)
#define NOTIFY_NODE    DT_NODELABEL(gpioc)
#define NOTIFY_PIN     7u          /* PC7: slave PD12 -> master PC7 */

#define CMD_FRAME_LEN  8u
#define CMD_MAGIC      0xAAu
#define CMD_SET_REF    0x01u
#define CMD_START      0x02u
#define CMD_STOP       0x03u
#define CMD_TAIL       0x55u

#define CMD_STACK_SIZE 1024u
#define CMD_PRIO       1u

static const struct device *spi_dev;
static const struct device *notify_dev;

static struct gpio_callback notify_cb;
static K_SEM_DEFINE(cmd_sem, 0, 1);

K_THREAD_STACK_DEFINE(cmd_stack, CMD_STACK_SIZE);
static struct k_thread cmd_thread_data;

static uint8_t tx_buf[CMD_FRAME_LEN];
static uint8_t rx_buf[CMD_FRAME_LEN];
static struct spi_buf tx_spi_buf = { .buf = tx_buf, .len = CMD_FRAME_LEN };
static struct spi_buf rx_spi_buf = { .buf = rx_buf, .len = CMD_FRAME_LEN };
static const struct spi_buf_set tx = { .buffers = &tx_spi_buf, .count = 1 };
static const struct spi_buf_set rx = { .buffers = &rx_spi_buf, .count = 1 };

/* Master, 8-bit, MSB-first, mode 0 (CPOL=0, CPHA=0), GPIO chip-select PB6. */
static const struct spi_config spi_cfg = {
    .frequency = 1000000U,
    .operation = SPI_OP_MODE_MASTER | SPI_WORD_SET(8) | SPI_TRANSFER_MSB,
    .slave = 0,
    .cs = {
        .gpio = {
            .port = DEVICE_DT_GET(DT_NODELABEL(gpiob)),
            .pin = 6,
            .dt_flags = GPIO_ACTIVE_LOW,
        },
    },
};

static void notify_cb_isr(const struct device *dev, struct gpio_callback *cb,
              uint32_t pins)
{
    ARG_UNUSED(dev);
    ARG_UNUSED(cb);
    ARG_UNUSED(pins);
    k_sem_give(&cmd_sem);
}

static uint8_t frame_crc(const uint8_t *f)
{
    uint8_t c = 0;
    for (int i = 0; i < 6; i++) {
        c ^= f[i];
    }
    return c;
}

static int handle_frame(const uint8_t *f)
{
    /* Validate envelope/CRC. */
    if (f[0] != CMD_MAGIC || f[7] != CMD_TAIL || f[6] != frame_crc(f)) {
        LOG_WRN("bad frame: magic=%02X tail=%02X crc=%02X/%02X",
            f[0], f[7], f[6], frame_crc(f));
        return -EINVAL;
    }

    /* Big-endian value*100. */
    uint16_t f100 = ((uint16_t)f[2] << 8) | f[3];
    uint16_t m100 = ((uint16_t)f[4] << 8) | f[5];

    float freq = (float)f100 / 100.0f;   /* Hz */
    float mag  = (float)m100  / 100.0f;  /* V */

    /* Sanity limits. */
    if (freq > 4000.0f || mag > 50.0f) {
        LOG_WRN("out-of-range freq=%u mag=%u", f100, m100);
        return -ERANGE;
    }

    /* Always apply the reference so START/STOP frames can carry it too. */
    set_frequency(freq);
    set_magnitude(mag);

    /* Act on the command byte. START/STOP are persistent per-loop frame state
     * from the slave, so they reliably toggle the timer on and off. */
    switch (f[1]) {
    case CMD_SET_REF:
    case CMD_START:
        svpwm_start();
        LOG_INF("ref start: f=%.2f Hz, v=%.2f V", freq, mag);
        break;

    case CMD_STOP:
        svpwm_stop();
        LOG_INF("ref stop: f=%.2f Hz, v=%.2f V", freq, mag);
        break;

    default:
        LOG_WRN("unknown cmd 0x%02X", f[1]);
        return -EINVAL;
    }

    return 0;
}

static void cmd_thread(void *a, void *b, void *c)
{
    ARG_UNUSED(a);
    ARG_UNUSED(b);
    ARG_UNUSED(c);

    /* Poison the TX payload; only RX carries data. */
    memset(tx_buf, 0, sizeof(tx_buf));

    while (1) {
        /* Wake immediately on a notify edge from the slave (PD12 -> PC7). */
        k_sem_take(&cmd_sem, K_FOREVER);

        int ret = spi_transceive(spi_dev, &spi_cfg, &tx, &rx);
        if (ret != 0) {
            LOG_ERR("spi_transceive failed: %d", ret);
            continue;
        }

        handle_frame(rx_buf);
    }
}

int spi_cmd_start(void)
{
    spi_dev = DEVICE_DT_GET(SPI_DEV_NODE);
    if (!device_is_ready(spi_dev)) {
        LOG_ERR("spi1 not ready");
        return -ENODEV;
    }

    notify_dev = DEVICE_DT_GET(NOTIFY_NODE);
    if (!device_is_ready(notify_dev)) {
        LOG_ERR("gpioc not ready");
        return -ENODEV;
    }

    /* PC7 input pulled down; interrupt on rising edge (slave assert). */
    int ret = gpio_pin_configure(notify_dev, NOTIFY_PIN,
                                 GPIO_INPUT | GPIO_PULL_DOWN);
    if (ret != 0) {
        LOG_ERR("notify pin config failed: %d", ret);
        return ret;
    }

    gpio_init_callback(&notify_cb, notify_cb_isr, BIT(NOTIFY_PIN));
    ret = gpio_add_callback(notify_dev, &notify_cb);
    if (ret != 0) {
        LOG_ERR("gpio callback add failed: %d", ret);
        return ret;
    }

    ret = gpio_pin_interrupt_configure(
        notify_dev, NOTIFY_PIN,
        GPIO_INT_EDGE_RISING | GPIO_INT_ENABLE);
    if (ret != 0) {
        LOG_ERR("notify irq config failed: %d", ret);
        return ret;
    }

    k_thread_create(&cmd_thread_data, cmd_stack, CMD_STACK_SIZE,
                    cmd_thread, NULL, NULL, NULL, CMD_PRIO, 0, K_NO_WAIT);

    LOG_INF("spi_cmd start: spi1 master + PC7 notify ready");
    return 0;
}
```

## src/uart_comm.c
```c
/*
 * uart_comm.c -- HMI comm host peer (NUCLEO-G474RE) against the H743
 * svpwm_comm device role (comm_device.c).
 *
 * Two-board comm backend test over a real wire. Both sides use their Arduino
 * D0/D1 header serial: this side usart1 D1(PC4 TX)/D0(PC5 RX), the H743
 * lpuart1 D1(PB6 TX)/D0(PB7 RX), 115200, shared GND. This side runs the SAME
 * comm core and UART backend as the H743, so a clean exchange exercises the
 * backend fully in both directions.
 *
 * Both boards are button-driven, and nothing is sent until a button is
 * pressed, so one frame pair on the wire is one button press:
 *
 *   G474 B1 press -> SET_GAUGE (v += 100, 0..1500, wrap) -> ACK
 *                    the H743 handler moves the centered gauge needle
 *
 *   H743 tap      -> SET_SVPWM (freq_x10 + volt_x100)    -> ACK with echo
 *                    applied here by set_frequency()/set_magnitude()
 *
 * There is no periodic traffic of any kind: no PING, no GET_INFO, no stats
 * snapshot, no telemetry. The PONG/INFO handlers stay registered so a
 * hand-built PING still round-trips without a rebuild.
 */

#include <zephyr/kernel.h>
#include <zephyr/logging/log.h>

#include <zephyr/dt-bindings/input/input-event-codes.h>
#include <zephyr/input/input.h>

#include <hmi/comm/hmi_comm.h>
#include <hmi/comm/hmi_comm_proto.h>

#include "control.h"
#include "uart_comm.h"

LOG_MODULE_REGISTER(uart_comm, LOG_LEVEL_INF);

#define GAUGE_MIN      0u
#define GAUGE_MAX      1500u
#define GAUGE_STEP     100u

static uint32_t stat_sent_setgauge;
static uint32_t stat_ack;

/* Next value to send; starts at the minimum and steps up, wrapping to
 * GAUGE_MIN one step past GAUGE_MAX.
 */
static uint32_t gauge_next = GAUGE_MIN;

/* --- peer message handlers (comm RX thread context) --- */

static void on_pong(uint8_t id, const uint8_t *data, size_t len)
{
    ARG_UNUSED(id);
    ARG_UNUSED(data);
    LOG_INF("PONG rx, payload %u B", (uint32_t)len);
}

static void on_info(uint8_t id, const uint8_t *data, size_t len)
{
    ARG_UNUSED(id);
    if (len >= 2) {
        LOG_INF("INFO peer ver %u.%u name '%.*s'", data[0], data[1],
            (int)(len - 2), (const char *)&data[2]);
    } else {
        LOG_INF("INFO peer (no payload)");
    }
}

static void on_ack(uint8_t id, const uint8_t *data, size_t len)
{
    ARG_UNUSED(id);
    if (len < HMI_ACK_SIZE) {
        LOG_INF("ACK rx (short %u B)", (uint32_t)len);
        return;
    }

    stat_ack++;

    if (data[0] == HMI_MSG_SET_SVPWM && len >= HMI_ACK_SVPWM_SIZE) {
        uint16_t f10  = hmi_comm_get_u16(&data[2]);
        uint16_t v100 = hmi_comm_get_u16(&data[4]);

        LOG_INF("ACK id 0x%02X status %u (applied f=%u.%u Hz v=%u.%02u V)",
            data[0], data[1],
            f10 / 10, f10 % 10, v100 / 100, v100 % 100);
    } else {
        LOG_INF("ACK for id 0x%02X status %u", data[0], data[1]);
    }
}

/* SET_SVPWM arrives from the H743's on-screen buttons: apply it to the
 * running SVPWM reference and echo the values back so the device can display
 * what this board really latched, not merely what it asked for.
 */
static void on_set_svpwm(uint8_t id, const uint8_t *data, size_t len)
{
    uint8_t ack[HMI_ACK_SVPWM_SIZE];
    uint16_t f10;
    uint16_t v100;

    ARG_UNUSED(id);

    ack[0] = HMI_MSG_SET_SVPWM;

    if (len != HMI_SVPWM_PAYLOAD_SIZE) {
        LOG_WRN("SET_SVPWM bad len %u", (uint32_t)len);
        ack[1] = 1;
        hmi_comm_send(HMI_MSG_ACK, ack, HMI_ACK_SIZE);
        return;
    }

    f10  = hmi_comm_get_u16(&data[0]);
    v100 = hmi_comm_get_u16(&data[2]);

    if (f10 > HMI_SVPWM_FREQ_MAX_X10 || v100 > HMI_SVPWM_VOLT_MAX_X100) {
        LOG_WRN("SET_SVPWM out of range f_x10=%u v_x100=%u", f10, v100);
        ack[1] = 1;
        hmi_comm_send(HMI_MSG_ACK, ack, HMI_ACK_SIZE);
        return;
    }

    set_frequency((float)f10 / 10.0f);
    set_magnitude((float)v100 / 100.0f);

    ack[1] = 0;
    hmi_comm_put_u16(&ack[2], f10);
    hmi_comm_put_u16(&ack[4], v100);
    if (hmi_comm_send(HMI_MSG_ACK, ack, sizeof(ack)) == 0) {
        LOG_INF("SET_SVPWM f=%u.%u Hz v=%u.%02u V -> ACK",
            f10 / 10, f10 % 10, v100 / 100, v100 % 100);
    }
}


/* --- user button (input thread context) --- */

static void send_next_gauge(void)
{
    uint8_t set[5];

    set[0] = 0; /* gauge index */
    hmi_comm_put_u32(&set[1], gauge_next);

    if (hmi_comm_send(HMI_MSG_SET_GAUGE, set, sizeof(set)) == 0) {
        stat_sent_setgauge++;
        LOG_INF("btn -> SET_GAUGE v=%u", gauge_next);
    }

    gauge_next += GAUGE_STEP;
    if (gauge_next > GAUGE_MAX) {
        gauge_next = GAUGE_MIN;
    }
}

static void on_button(struct input_event *evt, void *user_data)
{
    ARG_UNUSED(user_data);

    if (evt->type != INPUT_EV_KEY || evt->code != INPUT_KEY_0) {
        return;
    }
    if (evt->value == 0) {   /* act on the press edge only */
        return;
    }

    send_next_gauge();
}

INPUT_CALLBACK_DEFINE(NULL, on_button, NULL);

int uart_comm_start(void)
{
    if (hmi_comm_init() < 0) {
        LOG_ERR("comm init failed");
        return -EIO;
    }

    hmi_comm_set_handler(HMI_MSG_PONG, on_pong);
    hmi_comm_set_handler(HMI_MSG_INFO, on_info);
    hmi_comm_set_handler(HMI_MSG_ACK, on_ack);
    hmi_comm_set_handler(HMI_MSG_SET_SVPWM, on_set_svpwm);

    LOG_INF("uart_comm ready: B1 sends SET_GAUGE, H743 buttons send SET_SVPWM, "
        "host on Arduino D1(PC4)/D0(PC5) @115200");
    return 0;
}
```
